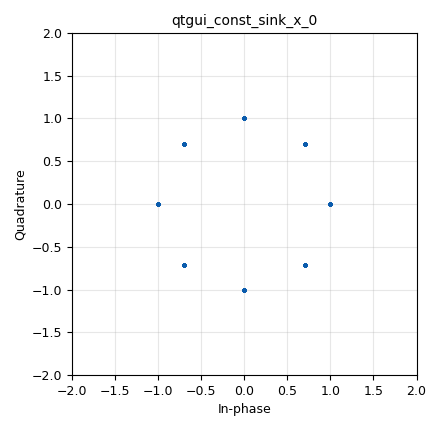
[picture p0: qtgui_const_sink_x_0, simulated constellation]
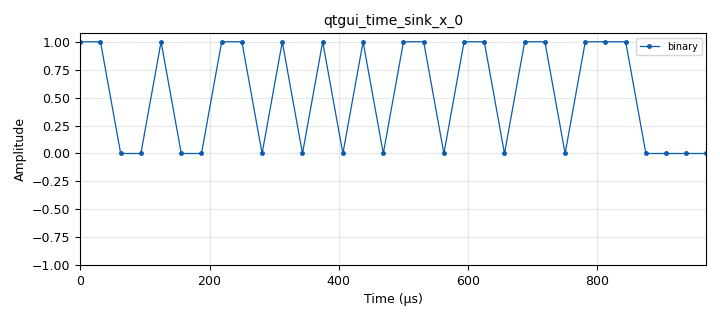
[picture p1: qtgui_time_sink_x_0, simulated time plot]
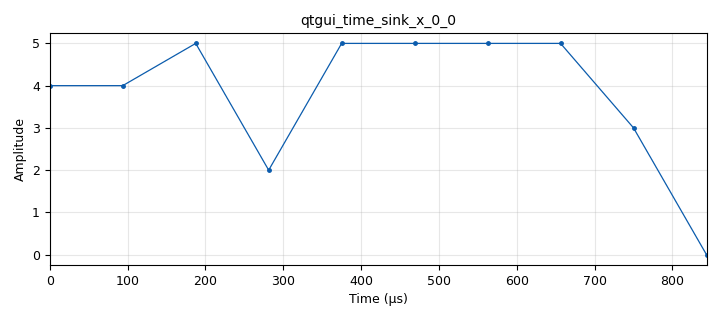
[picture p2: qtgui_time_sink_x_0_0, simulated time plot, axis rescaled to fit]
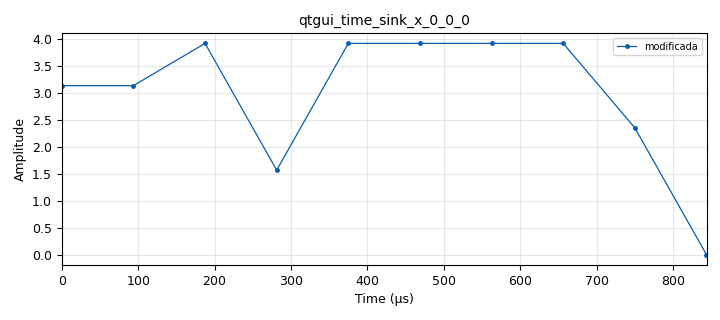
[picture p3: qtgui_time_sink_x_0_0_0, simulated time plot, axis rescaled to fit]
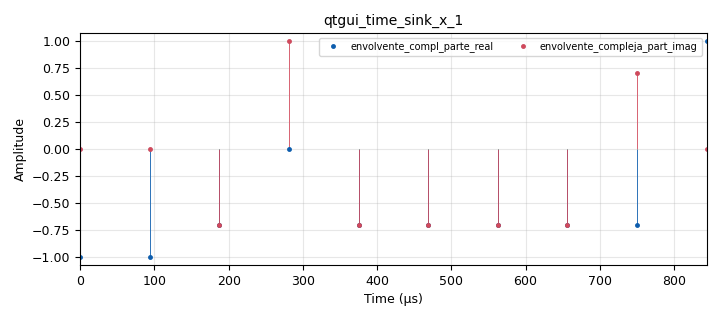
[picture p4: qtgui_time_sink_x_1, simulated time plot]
options:
  parameters:
    generate_options: qt_gui
    id: pruebaVCO
    output_language: python
    title: Not titled yet
  states: {}

blocks:
- name: M
  id: variable
  parameters:
    value: '8'
  states: {}
- name: Nbs
  id: variable
  parameters:
    value: int(math.log(M,2))
  states: {}
- name: Rb
  id: variable
  parameters:
    value: '32000'
  states: {}
- name: Rs
  id: variable
  parameters:
    value: Rb/Nbs
  states: {}
- name: analog_const_source_x_0
  id: analog_const_source_x
  parameters:
    const: '1.'
    type: float
  states: {}
- name: analog_random_source_x_0
  id: analog_random_source_x
  parameters:
    max: '2'
    min: '0'
    num_samps: '1000'
    repeat: 'True'
    type: byte
  states: {}
- name: blocks_char_to_float_0
  id: blocks_char_to_float
  parameters:
    scale: '1'
  states: {}
- name: blocks_char_to_float_0_0
  id: blocks_char_to_float
  parameters:
    scale: '1'
  states: {}
- name: blocks_char_to_float_1
  id: blocks_char_to_float
  parameters:
    scale: '1'
  states: {}
- name: blocks_multiply_const_vxx_0
  id: blocks_multiply_const_vxx
  parameters:
    const: 2*math.pi/M
    type: float
  states: {}
- name: blocks_repack_bits_bb_0
  id: blocks_repack_bits_bb
  parameters:
    endianness: gr.GR_LSB_FIRST
    k: '1'
    l: Nbs
  states: {}
- name: epy_block_0
  id: epy_block
  parameters:
    _source_code: "\"\"\"\nEmbedded Python Blocks:\n\nEach time this file is saved, GRC will instantiate the first class it finds\nto get ports and parameters of your block. The arguments to __init__  will\nbe the parameters. All of them are required to have default values!\n\"\"\"\n\nimport numpy as np\nfrom gnuradio import gr\n\n\nclass blk(gr.sync_block):  # other base classes are basic_block, decim_block, interp_block\n    \"\"\"Embedded Python Block example - a simple multiply const\"\"\"\n\n    def __init__(self, example_param=1.0):  # only default arguments here\n        \"\"\"oliwi, el bloque lo creamos\"\"\"\n        gr.sync_block.__init__(\n            self,\n            name='VCO Complex',   # will show up in GRC\n            in_sig=[np.float32, np.float32],\n            out_sig=[np.complex64]\n        )\n        # if an attribute with the same name as a parameter is found,\n        # a callback is registered (properties work, too).\n        self.example_param = example_param\n\n    def work(self, input_items, output_items):\n        \"\"\"example: multiply with constant\"\"\"\n        Q= input_items[0]\n        A= input_items[1]\n        Sec=output_items[0]\n        Sec[:]=A*np.exp(1.j*Q)\n        return len(Sec)\n        \n"
    example_param: '1.0'
  states: {}
- name: import_0
  id: import
  parameters:
    imports: import math
  states: {}
- name: qtgui_const_sink_x_0
  id: qtgui_const_sink_x
  parameters:
    size: '1024'
    type: complex
  states: {}
- name: qtgui_time_sink_x_0
  id: qtgui_time_sink_x
  parameters:
    label1: binary
    marker1: '0'
    size: '32'
    srate: Rb
    type: float
    width1: '3'
  states: {}
- name: qtgui_time_sink_x_0_0
  id: qtgui_time_sink_x
  parameters:
    marker1: '0'
    size: '10'
    srate: Rs
    type: float
    width1: '3'
  states: {}
- name: qtgui_time_sink_x_0_0_0
  id: qtgui_time_sink_x
  parameters:
    label1: modificada
    marker1: '0'
    size: '10'
    srate: Rs
    type: float
    width1: '3'
  states: {}
- name: qtgui_time_sink_x_1
  id: qtgui_time_sink_x
  parameters:
    label1: envolvente_compl_parte_real
    label2: envolvente_compleja_part_imag
    marker1: '1'
    marker2: '0'
    size: '10'
    srate: Rs
    stemplot: 'True'
    style1: '2'
    type: complex
    width1: '3'
    width2: '3'
  states: {}

connections:
- [analog_const_source_x_0, '0', epy_block_0, '1']
- [analog_random_source_x_0, '0', blocks_char_to_float_0, '0']
- [analog_random_source_x_0, '0', blocks_repack_bits_bb_0, '0']
- [blocks_char_to_float_0, '0', qtgui_time_sink_x_0, '0']
- [blocks_char_to_float_0_0, '0', qtgui_time_sink_x_0_0, '0']
- [blocks_char_to_float_1, '0', blocks_multiply_const_vxx_0, '0']
- [blocks_multiply_const_vxx_0, '0', epy_block_0, '0']
- [blocks_multiply_const_vxx_0, '0', qtgui_time_sink_x_0_0_0, '0']
- [blocks_repack_bits_bb_0, '0', blocks_char_to_float_0_0, '0']
- [blocks_repack_bits_bb_0, '0', blocks_char_to_float_1, '0']
- [epy_block_0, '0', qtgui_const_sink_x_0, '0']
- [epy_block_0, '0', qtgui_time_sink_x_1, '0']

metadata:
  file_format: 1
  grc_version: v3.10.11.0-89-ga17f69e7
